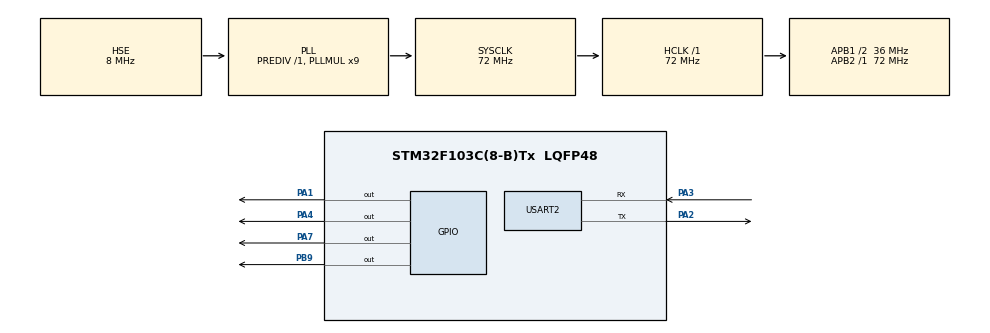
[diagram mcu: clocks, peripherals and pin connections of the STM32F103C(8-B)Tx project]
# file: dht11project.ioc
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Mcu.Family=STM32F1
Mcu.Name=STM32F103C(8-B)Tx
Mcu.Package=LQFP48
NVIC.PriorityGroup=NVIC_PRIORITYGROUP_4
PA1.GPIO_ModeDefaultOutputPP=GPIO_MODE_OUTPUT_PP
PA1.PinState=GPIO_PIN_SET
PA1.Signal=GPIO_Output
PA13.Mode=Serial_Wire
PA13.Signal=SYS_JTMS-SWDIO
PA14.Mode=Serial_Wire
PA14.Signal=SYS_JTCK-SWCLK
PA2.Mode=Asynchronous
PA2.Signal=USART2_TX
PA3.Mode=Asynchronous
PA3.Signal=USART2_RX
PA4.PinState=GPIO_PIN_SET
PA4.Signal=GPIO_Output
PA7.PinState=GPIO_PIN_SET
PA7.Signal=GPIO_Output
PB9.GPIO_ModeDefaultOutputPP=GPIO_MODE_OUTPUT_OD
PB9.GPIO_PuPd=GPIO_PULLUP
PB9.PinState=GPIO_PIN_SET
PB9.Signal=GPIO_Output
PD0-OSC_IN.Mode=HSE-External-Oscillator
PD0-OSC_IN.Signal=RCC_OSC_IN
PD1-OSC_OUT.Mode=HSE-External-Oscillator
PD1-OSC_OUT.Signal=RCC_OSC_OUT
ProjectManager.HeapSize=0x200
ProjectManager.StackSize=0x400
ProjectManager.TargetToolchain=STM32CubeIDE
RCC.AHBFreq_Value=72000000
RCC.APB1CLKDivider=RCC_HCLK_DIV2
RCC.APB1Freq_Value=36000000
RCC.APB1TimFreq_Value=72000000
RCC.APB2Freq_Value=72000000
RCC.APB2TimFreq_Value=72000000
RCC.HCLKFreq_Value=72000000
RCC.PLLMUL=RCC_PLL_MUL9
RCC.PLLSourceVirtual=RCC_PLLSOURCE_HSE
RCC.SYSCLKFreq_VALUE=72000000
RCC.SYSCLKSource=RCC_SYSCLKSOURCE_PLLCLK
RCC.USBFreq_Value=72000000
TIM1.Prescaler=71
USART2.VirtualMode=VM_ASYNC
VP_TIM1_VS_ClockSourceINT.Mode=Internal
board=custom

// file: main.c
/* USER CODE BEGIN Header */
/**
  ******************************************************************************
  * @file           : main.c
  * @brief          : Main program body
  ******************************************************************************
  * @attention
  *
  * Copyright (c) 2026 STMicroelectronics.
  * All rights reserved.
  *
  * This software is licensed under terms that can be found in the LICENSE file
  * in the root directory of this software component.
  * If no LICENSE file comes with this software, it is provided AS-IS.
  *
  ******************************************************************************
  */
/* USER CODE END Header */
#include "main.h"

/* USER CODE BEGIN Includes */
#include <stdio.h>   // Thư viện để dùng được hàm sprintf
#include <string.h>  // Thư viện để dùng được hàm strlen
/* USER CODE END Includes */

TIM_HandleTypeDef htim1;

UART_HandleTypeDef huart2;

void SystemClock_Config(void);
static void MX_GPIO_Init(void);
static void MX_TIM1_Init(void);
static void MX_USART2_UART_Init(void);

/* USER CODE BEGIN 0 */
#define DHT11_PORT GPIOB
#define DHT11_PIN GPIO_PIN_9
uint8_t RHI, RHD, TCI, TCD, SUM;
uint32_t pMillis, cMillis;
float tCelsius = 0;
float tFahrenheit = 0;
float RH = 0;

void microDelay (uint16_t delay)
{
  __HAL_TIM_SET_COUNTER(&htim1, 0);
  while (__HAL_TIM_GET_COUNTER(&htim1) < delay);
}

uint8_t DHT11_Start (void)
{
  uint8_t Response = 0;
  GPIO_InitTypeDef GPIO_InitStructPrivate = {0};
  GPIO_InitStructPrivate.Pin = DHT11_PIN;
    GPIO_InitStructPrivate.Mode = GPIO_MODE_OUTPUT_OD; // Đảm bảo luôn là Open Drain khi bắt đầu
    GPIO_InitStructPrivate.Speed = GPIO_SPEED_FREQ_LOW;
    GPIO_InitStructPrivate.Pull = GPIO_PULLUP;         // Luôn bật Pull-up
    HAL_GPIO_Init(DHT11_PORT, &GPIO_InitStructPrivate);
    // --------------------------------------------

    HAL_GPIO_WritePin (DHT11_PORT, DHT11_PIN, 0);   // Bây giờ lệnh kéo xuống 0V chắc chắn sẽ chạy được
    HAL_Delay(20);   // đợi 20ms
    HAL_GPIO_WritePin (DHT11_PORT, DHT11_PIN, 1);   // kéo lên High
    microDelay (30);

    // (Các đoạn code phía dưới của hàm DHT11_Start giữ nguyên không đổi)
    GPIO_InitStructPrivate.Mode = GPIO_MODE_INPUT;
    GPIO_InitStructPrivate.Pull = GPIO_PULLUP;
    HAL_GPIO_Init(DHT11_PORT, &GPIO_InitStructPrivate);
  microDelay (40);
  if (!(HAL_GPIO_ReadPin (DHT11_PORT, DHT11_PIN)))
  {
    microDelay (80);
    if ((HAL_GPIO_ReadPin (DHT11_PORT, DHT11_PIN))) Response = 1;
  }
  pMillis = HAL_GetTick();
  cMillis = HAL_GetTick();
  while ((HAL_GPIO_ReadPin (DHT11_PORT, DHT11_PIN)) && pMillis + 2 > cMillis)
  {
    cMillis = HAL_GetTick();
  }
  return Response;
}

uint8_t DHT11_Read (void)
{
  uint8_t a,b;
  for (a=0;a<8;a++)
  {
    pMillis = HAL_GetTick();
    cMillis = HAL_GetTick();
    while (!(HAL_GPIO_ReadPin (DHT11_PORT, DHT11_PIN)) && pMillis + 2 > cMillis)
    {  // wait for the pin to go high
      cMillis = HAL_GetTick();
    }
    microDelay (40);   // wait for 40 us
    if (!(HAL_GPIO_ReadPin (DHT11_PORT, DHT11_PIN)))   // if the pin is low
      b&= ~(1<<(7-a));
    else
      b|= (1<<(7-a));
    pMillis = HAL_GetTick();
    cMillis = HAL_GetTick();
    while ((HAL_GPIO_ReadPin (DHT11_PORT, DHT11_PIN)) && pMillis + 2 > cMillis)
    {  // wait for the pin to go low
      cMillis = HAL_GetTick();
    }
  }
  return b;
}
/* USER CODE END 0 */

int main(void)
{

  /* MCU Configuration--------------------------------------------------------*/

  /* Reset of all peripherals, Initializes the Flash interface and the Systick. */
  HAL_Init();

  /* Configure the system clock */
  SystemClock_Config();

  /* Initialize all configured peripherals */
  MX_GPIO_Init();
  MX_TIM1_Init();
  MX_USART2_UART_Init();
  /* USER CODE BEGIN 2 */
  HAL_TIM_Base_Start(&htim1);
  /* USER CODE END 2 */

  /* Infinite loop */
  /* USER CODE BEGIN WHILE */
  while (1)
  {
	  if(DHT11_Start())
	        {
	            RHI = DHT11_Read(); // Phần nguyên độ ẩm
	            RHD = DHT11_Read(); // Phần thập phân độ ẩm
	            TCI = DHT11_Read(); // Phần nguyên nhiệt độ
	            TCD = DHT11_Read(); // Phần thập phân nhiệt độ
	            SUM = DHT11_Read(); // Check sum

	            if (RHI + RHD + TCI + TCD == SUM)
	            {
	                tCelsius = (float)TCI + (float)(TCD/10.0);
	                tFahrenheit = tCelsius * 9/5 + 32;
	                RH = (float)RHI + (float)(RHD/10.0);
	                char tx_buffer[50];

	                				// Ép kiểu float về int để đóng gói chuỗi gửi đi dạng "Nhiệt,Ẩm\n"
	                sprintf(tx_buffer, "%d,%d\n", (int)tCelsius, (int)RH);

	                				// Gửi gói dữ liệu qua bộ USART2 (chân PA2)
	                				HAL_UART_Transmit(&huart2, (uint8_t*)tx_buffer, strlen(tx_buffer), 100);
	                				// ---------
	            }

	            // ---- BẮT ĐẦU LOGIC ĐỔI MÀU ĐÈN MỚI ----

	            // 1. Nếu nhiệt độ trên 40 độ C -> BẬT ĐỎ (PA1), TẮT XANH LÁ (PA4), TẮT XANH DƯƠNG (PA7)
	            if (TCI > 40)
	            {
	                HAL_GPIO_WritePin(GPIOA, GPIO_PIN_1, 1); // Đỏ SÁNG
	                HAL_GPIO_WritePin(GPIOA, GPIO_PIN_4, 0); // Xanh lá TẮT
	                HAL_GPIO_WritePin(GPIOA, GPIO_PIN_7, 0); // Xanh dương TẮT
	            }
	            // 2. Nếu nhiệt độ từ 25 đến 40 độ C -> TẮT ĐỎ (PA1), BẬT XANH LÁ (PA4), TẮT XANH DƯƠNG (PA7)
	            else if (TCI >= 25)
	            {
	                HAL_GPIO_WritePin(GPIOA, GPIO_PIN_1, 0); // Đỏ TẮT
	                HAL_GPIO_WritePin(GPIOA, GPIO_PIN_4, 1); // Xanh lá SÁNG
	                HAL_GPIO_WritePin(GPIOA, GPIO_PIN_7, 0); // Xanh dương TẮT
	            }
	            // 3. Nếu nhiệt độ dưới 25 độ C (cụ thể từ 15 đến mốc dưới 25) -> TẮT ĐỎ, TẮT XANH LÁ, BẬT XANH DƯƠNG (PA7)
	            else
	            {
	                HAL_GPIO_WritePin(GPIOA, GPIO_PIN_1, 0); // Đỏ TẮT
	                HAL_GPIO_WritePin(GPIOA, GPIO_PIN_4, 0); // Xanh lá TẮT
	                HAL_GPIO_WritePin(GPIOA, GPIO_PIN_7, 1); // Xanh dương SÁNG
	            }

	            // ---- KẾT THÚC LOGIC ĐỔI MÀU ĐÈN ----
	        }
	        HAL_Delay(2000); // Đợi 2 giây để đọc lần tiếp theo
    /* USER CODE END WHILE */

  }
}

void SystemClock_Config(void)
{
  RCC_OscInitTypeDef RCC_OscInitStruct = {0};
  RCC_ClkInitTypeDef RCC_ClkInitStruct = {0};

  /** Initializes the RCC Oscillators according to the specified parameters
  * in the RCC_OscInitTypeDef structure.
  */
  RCC_OscInitStruct.OscillatorType = RCC_OSCILLATORTYPE_HSE;
  RCC_OscInitStruct.HSEState = RCC_HSE_ON;
  RCC_OscInitStruct.HSEPredivValue = RCC_HSE_PREDIV_DIV1;
  RCC_OscInitStruct.HSIState = RCC_HSI_ON;
  RCC_OscInitStruct.PLL.PLLState = RCC_PLL_ON;
  RCC_OscInitStruct.PLL.PLLSource = RCC_PLLSOURCE_HSE;
  RCC_OscInitStruct.PLL.PLLMUL = RCC_PLL_MUL9;
  if (HAL_RCC_OscConfig(&RCC_OscInitStruct) != HAL_OK)
  {
    Error_Handler();
  }

  /** Initializes the CPU, AHB and APB buses clocks
  */
  RCC_ClkInitStruct.ClockType = RCC_CLOCKTYPE_HCLK|RCC_CLOCKTYPE_SYSCLK
                              |RCC_CLOCKTYPE_PCLK1|RCC_CLOCKTYPE_PCLK2;
  RCC_ClkInitStruct.SYSCLKSource = RCC_SYSCLKSOURCE_PLLCLK;
  RCC_ClkInitStruct.AHBCLKDivider = RCC_SYSCLK_DIV1;
  RCC_ClkInitStruct.APB1CLKDivider = RCC_HCLK_DIV2;
  RCC_ClkInitStruct.APB2CLKDivider = RCC_HCLK_DIV1;

  if (HAL_RCC_ClockConfig(&RCC_ClkInitStruct, FLASH_LATENCY_2) != HAL_OK)
  {
    Error_Handler();
  }
}

static void MX_TIM1_Init(void)
{

  TIM_ClockConfigTypeDef sClockSourceConfig = {0};
  TIM_MasterConfigTypeDef sMasterConfig = {0};

  htim1.Instance = TIM1;
  htim1.Init.Prescaler = 71;
  htim1.Init.CounterMode = TIM_COUNTERMODE_UP;
  htim1.Init.Period = 65535;
  htim1.Init.ClockDivision = TIM_CLOCKDIVISION_DIV1;
  htim1.Init.RepetitionCounter = 0;
  htim1.Init.AutoReloadPreload = TIM_AUTORELOAD_PRELOAD_DISABLE;
  if (HAL_TIM_Base_Init(&htim1) != HAL_OK)
  {
    Error_Handler();
  }
  sClockSourceConfig.ClockSource = TIM_CLOCKSOURCE_INTERNAL;
  if (HAL_TIM_ConfigClockSource(&htim1, &sClockSourceConfig) != HAL_OK)
  {
    Error_Handler();
  }
  sMasterConfig.MasterOutputTrigger = TIM_TRGO_RESET;
  sMasterConfig.MasterSlaveMode = TIM_MASTERSLAVEMODE_DISABLE;
  if (HAL_TIMEx_MasterConfigSynchronization(&htim1, &sMasterConfig) != HAL_OK)
  {
    Error_Handler();
  }

}

static void MX_USART2_UART_Init(void)
{

  huart2.Instance = USART2;
  huart2.Init.BaudRate = 115200;
  huart2.Init.WordLength = UART_WORDLENGTH_8B;
  huart2.Init.StopBits = UART_STOPBITS_1;
  huart2.Init.Parity = UART_PARITY_NONE;
  huart2.Init.Mode = UART_MODE_TX_RX;
  huart2.Init.HwFlowCtl = UART_HWCONTROL_NONE;
  huart2.Init.OverSampling = UART_OVERSAMPLING_16;
  if (HAL_UART_Init(&huart2) != HAL_OK)
  {
    Error_Handler();
  }

}

static void MX_GPIO_Init(void)
{
  GPIO_InitTypeDef GPIO_InitStruct = {0};

  /* GPIO Ports Clock Enable */
  __HAL_RCC_GPIOD_CLK_ENABLE();
  __HAL_RCC_GPIOA_CLK_ENABLE();
  __HAL_RCC_GPIOB_CLK_ENABLE();

  /*Configure GPIO pin Output Level */
  HAL_GPIO_WritePin(GPIOA, GPIO_PIN_1|GPIO_PIN_4|GPIO_PIN_7, GPIO_PIN_SET);

  /*Configure GPIO pin Output Level */
  HAL_GPIO_WritePin(GPIOB, GPIO_PIN_9, GPIO_PIN_SET);

  /*Configure GPIO pins : PA1 PA4 PA7 */
  GPIO_InitStruct.Pin = GPIO_PIN_1|GPIO_PIN_4|GPIO_PIN_7;
  GPIO_InitStruct.Mode = GPIO_MODE_OUTPUT_PP;
  GPIO_InitStruct.Pull = GPIO_NOPULL;
  GPIO_InitStruct.Speed = GPIO_SPEED_FREQ_LOW;
  HAL_GPIO_Init(GPIOA, &GPIO_InitStruct);

  /*Configure GPIO pin : PB9 */
  GPIO_InitStruct.Pin = GPIO_PIN_9;
  GPIO_InitStruct.Mode = GPIO_MODE_OUTPUT_OD;
  GPIO_InitStruct.Pull = GPIO_PULLUP;
  GPIO_InitStruct.Speed = GPIO_SPEED_FREQ_LOW;
  HAL_GPIO_Init(GPIOB, &GPIO_InitStruct);

}

void Error_Handler(void)
{
  __disable_irq();
  while (1)
  {
  }
}
